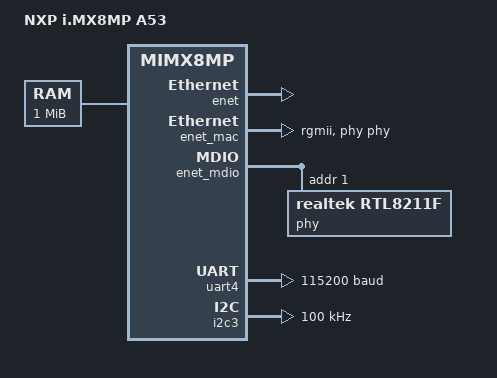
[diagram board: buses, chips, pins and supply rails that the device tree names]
/*
 * Copyright 2021-2024 NXP
 *
 * SPDX-License-Identifier: Apache-2.0
 */

/dts-v1/;

#include <zephyr/dt-bindings/i2c/i2c.h>
#include <nxp/nxp_mimx8mp_a53.dtsi>
#include "imx8mp_evk-pinctrl.dtsi"

/ {
	model = "NXP i.MX8MP A53";
	compatible = "fsl,mimx8mp";

	chosen {
		zephyr,console = &uart4;
		zephyr,shell-uart = &uart4;
		/* sram node actually locates at DDR DRAM */
		zephyr,sram = &dram;
	};

	cpus {
		cpu@0 {
			status = "disabled";
		};
		cpu@1 {
			status = "disabled";
		};
		cpu@2 {
			status = "disabled";
		};
	};

	dram: memory@c0000000 {
		reg = <0xc0000000 DT_SIZE_M(1)>;
	};

};

&enet {
	status = "okay";
};

&enet_mac {
	pinctrl-0 = <&pinmux_enet>;
	pinctrl-names = "default";
	phy-handle = <&phy>;
	zephyr,random-mac-address;
	phy-connection-type = "rgmii";
	status = "okay";
};

&enet_mdio {
	pinctrl-0 = <&pinmux_mdio>;
	pinctrl-names = "default";
	status = "okay";
	phy: phy@1 {
		compatible = "realtek,rtl8211f";
		reg = <1>;
		status = "okay";
	};
};

&uart4 {
	status = "okay";
	current-speed = <115200>;
	clocks = <&ccm IMX_CCM_UART4_CLK 0x6c 24>;
	pinctrl-0 = <&uart4_default>;
	pinctrl-names = "default";
};

&i2c3 {
	status = "okay";
	pinctrl-0 = <&pinmux_i2c3>;
	pinctrl-names = "default";
	clock-frequency = <I2C_BITRATE_STANDARD>;
};
